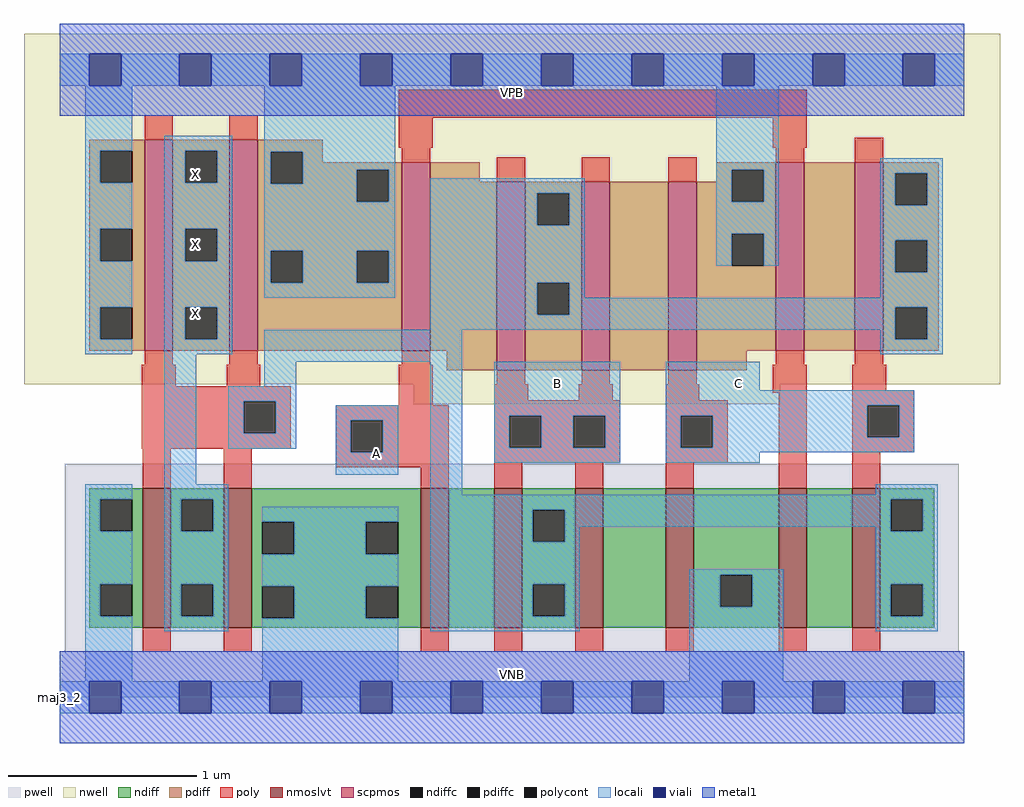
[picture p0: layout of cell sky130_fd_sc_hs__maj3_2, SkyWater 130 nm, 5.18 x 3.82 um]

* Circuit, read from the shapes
.subckt sky130_fd_sc_hs__maj3_2 A B C VGND VNB VPB VPWR X
XM1 X n1 VGND VNB sky130_fd_pr__nfet_01v8_lvt w=0.74 l=0.15 m=2
XM2 n2 A VGND VNB sky130_fd_pr__nfet_01v8_lvt w=0.74 l=0.15
XM3 n1 B n2 VNB sky130_fd_pr__nfet_01v8_lvt w=0.74 l=0.15
XM4 n3 B n1 VNB sky130_fd_pr__nfet_01v8_lvt w=0.74 l=0.15
XM5 VGND C n3 VNB sky130_fd_pr__nfet_01v8_lvt w=0.74 l=0.15
XM6 n4 A VGND VNB sky130_fd_pr__nfet_01v8_lvt w=0.74 l=0.15
XM7 n1 C n4 VNB sky130_fd_pr__nfet_01v8_lvt w=0.74 l=0.15
XM8 X n1 VPWR VPB sky130_fd_pr__pfet_01v8 w=1.12 l=0.15 m=2
XM9 n5 A VPWR VPB sky130_fd_pr__pfet_01v8 w=1 l=0.15
XM10 n1 B n5 VPB sky130_fd_pr__pfet_01v8 w=1 l=0.15
XM11 n6 B n1 VPB sky130_fd_pr__pfet_01v8 w=1 l=0.15
XM12 VPWR C n6 VPB sky130_fd_pr__pfet_01v8 w=1 l=0.15
XM13 n7 A VPWR VPB sky130_fd_pr__pfet_01v8 w=1 l=0.15
XM14 n1 C n7 VPB sky130_fd_pr__pfet_01v8 w=1 l=0.15
.ends

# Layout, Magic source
magic
tech sky130A
magscale 1 2
<< nwell >>
rect -38 332 998 704
rect 375 311 765 332
<< pwell >>
rect 5 49 954 248
rect 0 0 960 49
<< scpmos >>
rect 90 368 120 592
rect 180 368 210 592
rect 363 368 393 568
rect 464 347 494 547
rect 554 347 584 547
rect 646 347 676 547
rect 760 368 790 568
rect 844 368 874 568
<< nmoslvt >>
rect 88 74 118 222
rect 174 74 204 222
rect 383 74 413 222
rect 461 74 491 222
rect 547 74 577 222
rect 643 74 673 222
rect 763 74 793 222
rect 841 74 871 222
<< ndiff >>
rect 31 210 88 222
rect 31 176 43 210
rect 77 176 88 210
rect 31 120 88 176
rect 31 86 43 120
rect 77 86 88 120
rect 31 74 88 86
rect 118 210 174 222
rect 118 176 129 210
rect 163 176 174 210
rect 118 120 174 176
rect 118 86 129 120
rect 163 86 174 120
rect 118 74 174 86
rect 204 186 383 222
rect 204 152 215 186
rect 249 152 325 186
rect 359 152 383 186
rect 204 118 383 152
rect 204 84 215 118
rect 249 84 325 118
rect 359 84 383 118
rect 204 74 383 84
rect 413 74 461 222
rect 491 199 547 222
rect 491 165 502 199
rect 536 165 547 199
rect 491 120 547 165
rect 491 86 502 120
rect 536 86 547 120
rect 491 74 547 86
rect 577 74 643 222
rect 673 130 763 222
rect 673 96 701 130
rect 735 96 763 130
rect 673 74 763 96
rect 793 74 841 222
rect 871 210 928 222
rect 871 176 882 210
rect 916 176 928 210
rect 871 120 928 176
rect 871 86 882 120
rect 916 86 928 120
rect 871 74 928 86
<< pdiff >>
rect 31 580 90 592
rect 31 546 43 580
rect 77 546 90 580
rect 31 497 90 546
rect 31 463 43 497
rect 77 463 90 497
rect 31 414 90 463
rect 31 380 43 414
rect 77 380 90 414
rect 31 368 90 380
rect 120 580 180 592
rect 120 546 133 580
rect 167 546 180 580
rect 120 497 180 546
rect 120 463 133 497
rect 167 463 180 497
rect 120 414 180 463
rect 120 380 133 414
rect 167 380 180 414
rect 120 368 180 380
rect 210 579 279 592
rect 210 545 224 579
rect 258 568 279 579
rect 258 560 363 568
rect 258 545 315 560
rect 210 526 315 545
rect 349 526 363 560
rect 210 474 363 526
rect 210 440 224 474
rect 258 440 315 474
rect 349 440 363 474
rect 210 368 363 440
rect 393 547 446 568
rect 697 560 760 568
rect 697 547 713 560
rect 393 368 464 547
rect 411 347 464 368
rect 494 535 554 547
rect 494 501 507 535
rect 541 501 554 535
rect 494 440 554 501
rect 494 406 507 440
rect 541 406 554 440
rect 494 347 554 406
rect 584 347 646 547
rect 676 526 713 547
rect 747 526 760 560
rect 676 492 760 526
rect 676 458 713 492
rect 747 458 760 492
rect 676 368 760 458
rect 790 368 844 568
rect 874 556 933 568
rect 874 522 887 556
rect 921 522 933 556
rect 874 485 933 522
rect 874 451 887 485
rect 921 451 933 485
rect 874 414 933 451
rect 874 380 887 414
rect 921 380 933 414
rect 874 368 933 380
rect 676 347 729 368
<< ndiffc >>
rect 43 176 77 210
rect 43 86 77 120
rect 129 176 163 210
rect 129 86 163 120
rect 215 152 249 186
rect 325 152 359 186
rect 215 84 249 118
rect 325 84 359 118
rect 502 165 536 199
rect 502 86 536 120
rect 701 96 735 130
rect 882 176 916 210
rect 882 86 916 120
<< pdiffc >>
rect 43 546 77 580
rect 43 463 77 497
rect 43 380 77 414
rect 133 546 167 580
rect 133 463 167 497
rect 133 380 167 414
rect 224 545 258 579
rect 315 526 349 560
rect 224 440 258 474
rect 315 440 349 474
rect 507 501 541 535
rect 507 406 541 440
rect 713 526 747 560
rect 713 458 747 492
rect 887 522 921 556
rect 887 451 921 485
rect 887 380 921 414
<< poly >>
rect 90 592 120 618
rect 180 592 210 618
rect 360 615 793 645
rect 360 583 396 615
rect 757 583 793 615
rect 363 568 393 583
rect 464 547 494 573
rect 554 547 584 573
rect 646 547 676 573
rect 760 568 790 583
rect 844 568 874 594
rect 90 353 120 368
rect 180 353 210 368
rect 363 353 393 368
rect 87 330 123 353
rect 177 330 213 353
rect 87 314 245 330
rect 87 280 195 314
rect 229 280 245 314
rect 360 310 396 353
rect 760 353 790 368
rect 844 353 874 368
rect 464 332 494 347
rect 554 332 584 347
rect 646 332 676 347
rect 461 315 497 332
rect 551 315 587 332
rect 643 315 679 332
rect 757 323 793 353
rect 87 264 245 280
rect 293 294 413 310
rect 88 222 118 264
rect 174 222 204 264
rect 293 260 309 294
rect 343 260 413 294
rect 293 244 413 260
rect 383 222 413 244
rect 461 299 595 315
rect 461 265 477 299
rect 511 265 545 299
rect 579 265 595 299
rect 461 249 595 265
rect 643 299 709 315
rect 643 265 659 299
rect 693 265 709 299
rect 643 249 709 265
rect 461 222 491 249
rect 547 222 577 249
rect 643 222 673 249
rect 763 222 793 323
rect 841 326 877 353
rect 841 310 907 326
rect 841 276 857 310
rect 891 276 907 310
rect 841 260 907 276
rect 841 222 871 260
rect 88 48 118 74
rect 174 48 204 74
rect 383 48 413 74
rect 461 48 491 74
rect 547 48 577 74
rect 643 48 673 74
rect 763 48 793 74
rect 841 48 871 74
<< polycont >>
rect 195 280 229 314
rect 309 260 343 294
rect 477 265 511 299
rect 545 265 579 299
rect 659 265 693 299
rect 857 276 891 310
<< locali >>
rect 0 649 31 683
rect 65 649 127 683
rect 161 649 223 683
rect 257 649 319 683
rect 353 649 415 683
rect 449 649 511 683
rect 545 649 607 683
rect 641 649 703 683
rect 737 649 799 683
rect 833 649 895 683
rect 929 649 960 683
rect 27 580 77 649
rect 27 546 43 580
rect 27 497 77 546
rect 27 463 43 497
rect 27 414 77 463
rect 27 380 43 414
rect 27 364 77 380
rect 111 580 183 596
rect 111 546 133 580
rect 167 546 183 580
rect 111 497 183 546
rect 111 463 133 497
rect 167 463 183 497
rect 111 414 183 463
rect 217 579 356 649
rect 217 545 224 579
rect 258 560 356 579
rect 258 545 315 560
rect 217 526 315 545
rect 349 526 356 560
rect 697 560 763 649
rect 217 474 356 526
rect 217 440 224 474
rect 258 440 315 474
rect 349 440 356 474
rect 217 424 356 440
rect 393 535 557 551
rect 393 501 507 535
rect 541 501 557 535
rect 393 440 557 501
rect 697 526 713 560
rect 747 526 763 560
rect 697 492 763 526
rect 697 458 713 492
rect 747 458 763 492
rect 871 556 937 572
rect 871 522 887 556
rect 921 522 937 556
rect 871 485 937 522
rect 111 380 133 414
rect 167 380 183 414
rect 393 406 507 440
rect 541 424 557 440
rect 871 451 887 485
rect 921 451 937 485
rect 871 424 937 451
rect 541 414 937 424
rect 541 406 887 414
rect 393 390 887 406
rect 111 364 183 380
rect 111 226 145 364
rect 217 356 427 390
rect 871 380 887 390
rect 921 380 937 414
rect 871 364 937 380
rect 217 330 251 356
rect 179 314 251 330
rect 179 280 195 314
rect 229 280 251 314
rect 179 264 251 280
rect 293 294 359 310
rect 293 260 309 294
rect 343 260 359 294
rect 293 236 359 260
rect 27 210 77 226
rect 27 176 43 210
rect 27 120 77 176
rect 27 86 43 120
rect 27 17 77 86
rect 111 210 179 226
rect 111 176 129 210
rect 163 176 179 210
rect 393 215 427 356
rect 461 299 595 356
rect 461 265 477 299
rect 511 265 545 299
rect 579 265 595 299
rect 461 249 595 265
rect 643 326 743 356
rect 643 310 907 326
rect 643 299 857 310
rect 643 265 659 299
rect 693 276 857 299
rect 891 276 907 310
rect 693 265 907 276
rect 643 260 907 265
rect 643 249 743 260
rect 866 215 932 226
rect 393 210 932 215
rect 111 120 179 176
rect 111 86 129 120
rect 163 86 179 120
rect 111 70 179 86
rect 215 186 359 202
rect 249 152 325 186
rect 215 118 359 152
rect 249 84 325 118
rect 215 17 359 84
rect 393 199 882 210
rect 393 165 502 199
rect 536 181 882 199
rect 536 165 552 181
rect 393 120 552 165
rect 866 176 882 181
rect 916 176 932 210
rect 393 86 502 120
rect 536 86 552 120
rect 393 70 552 86
rect 668 130 768 136
rect 668 96 701 130
rect 735 96 768 130
rect 668 17 768 96
rect 866 120 932 176
rect 866 86 882 120
rect 916 86 932 120
rect 866 70 932 86
rect 0 -17 31 17
rect 65 -17 127 17
rect 161 -17 223 17
rect 257 -17 319 17
rect 353 -17 415 17
rect 449 -17 511 17
rect 545 -17 607 17
rect 641 -17 703 17
rect 737 -17 799 17
rect 833 -17 895 17
rect 929 -17 960 17
<< viali >>
rect 31 649 65 683
rect 127 649 161 683
rect 223 649 257 683
rect 319 649 353 683
rect 415 649 449 683
rect 511 649 545 683
rect 607 649 641 683
rect 703 649 737 683
rect 799 649 833 683
rect 895 649 929 683
rect 31 -17 65 17
rect 127 -17 161 17
rect 223 -17 257 17
rect 319 -17 353 17
rect 415 -17 449 17
rect 511 -17 545 17
rect 607 -17 641 17
rect 703 -17 737 17
rect 799 -17 833 17
rect 895 -17 929 17
<< metal1 >>
rect 0 683 960 715
rect 0 649 31 683
rect 65 649 127 683
rect 161 649 223 683
rect 257 649 319 683
rect 353 649 415 683
rect 449 649 511 683
rect 545 649 607 683
rect 641 649 703 683
rect 737 649 799 683
rect 833 649 895 683
rect 929 649 960 683
rect 0 617 960 649
rect 0 17 960 49
rect 0 -17 31 17
rect 65 -17 127 17
rect 161 -17 223 17
rect 257 -17 319 17
rect 353 -17 415 17
rect 449 -17 511 17
rect 545 -17 607 17
rect 641 -17 703 17
rect 737 -17 799 17
rect 833 -17 895 17
rect 929 -17 960 17
rect 0 -49 960 -17
<< labels >>
rlabel comment s 0 0 0 0 4 maj3_2
flabel pwell s 0 0 960 49 0 FreeSans 200 0 0 0 VNB
port 5 nsew ground bidirectional
flabel nwell s 0 617 960 666 0 FreeSans 200 0 0 0 VPB
port 6 nsew power bidirectional
flabel metal1 s 0 617 960 666 0 FreeSans 340 0 0 0 VPWR
port 7 nsew power bidirectional
flabel metal1 s 0 0 960 49 0 FreeSans 340 0 0 0 VGND
port 4 nsew ground bidirectional
flabel locali s 511 316 545 350 0 FreeSans 340 0 0 0 B
port 2 nsew signal input
flabel locali s 703 316 737 350 0 FreeSans 340 0 0 0 C
port 3 nsew signal input
flabel locali s 127 390 161 424 0 FreeSans 340 0 0 0 X
port 8 nsew signal output
flabel locali s 127 464 161 498 0 FreeSans 340 0 0 0 X
port 8 nsew signal output
flabel locali s 127 538 161 572 0 FreeSans 340 0 0 0 X
port 8 nsew signal output
flabel locali s 319 242 353 276 0 FreeSans 340 0 0 0 A
port 1 nsew signal input
<< properties >>
string LEFsite unit
string LEFclass CORE
string FIXED_BBOX 0 0 960 666
string GDS_FILE $PDKPATH/libs.ref/sky130_fd_sc_hs/gds/sky130_fd_sc_hs.gds
string LEFsymmetry X Y
string GDS_END 3883676
string GDS_START 3875852
<< end >>
